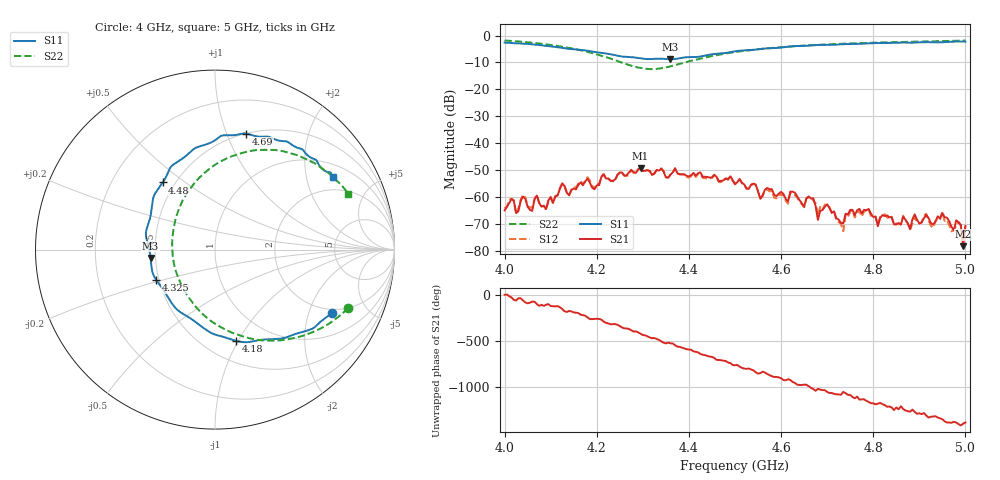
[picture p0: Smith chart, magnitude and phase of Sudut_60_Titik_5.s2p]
# Hz S RI R 50
! CMT, C1220, 16058040, 17.2.0/1
! Date: 15/08/2018 12:18:55
! Data: Format (Calibration Info)
! Freq  S11: Re/Im (F2)  S21: Re/Im (F2)  S12: Re/Im (F2)  S22: Re/Im (F2)
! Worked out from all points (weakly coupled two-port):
!   201 points, 4 GHz to 5 GHz, reference 50 ohm
!   highest |S21| = -49.18 dB at 4.295 GHz (marker M1); lowest = -78.3 dB at 4.995 GHz (marker M2)
!   lowest |S11| = -8.8 dB at 4.36 GHz (marker M3), VSWR 2.13, Z = 23.5 - j2.52 ohm
!   |S11| at or under -10 dB: nowhere
!   |S22| runs from -12.5 to -1.8 dB; largest |S21 - S12| = 0.00019
!   S11 on the Smith chart (normalised r, x): 4 GHz: 1.82, -2.86; 4.18 GHz: 0.70, -0.98; 4.325 GHz: 0.48, -0.19; 4.48 GHz: 0.43, +0.41; 4.69 GHz: 0.50, +1.18; 5 GHz: 1.42, +2.86
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4e9  0.6499 -0.354  0.000563 3.41e-05  0.000609 9.05e-05  0.741 -0.3257
4.09e9  0.428 -0.4774  -0.000144 -0.000581  -0.000112 -0.000564  0.4902 -0.4797
4.125e9  0.3139 -0.4994  -0.00157 -0.000884  -0.00149 -0.000904  0.3598 -0.5059
4.17e9  0.1474 -0.5143  -0.00132 0.000993  -0.0014 0.00101  0.1748 -0.4894
4.18e9  0.1174 -0.508  -0.00107 0.00193  -0.00121 0.00199  0.1337 -0.4762
4.295e9  -0.2535 -0.2792  0.00174 -0.00301  0.0018 -0.00299  -0.2171 -0.1233
4.325e9  -0.3272 -0.1701  -0.000728 -0.00261  -0.000723 -0.00267  -0.2381 0.00436
4.335e9  -0.3435 -0.1396  -0.00185 -0.00249  -0.00191 -0.0025  -0.2383 0.0466
4.36e9  -0.3587 -0.0465  -0.0025 -0.000705  -0.00252 -0.000665  -0.2255 0.1438
4.48e9  -0.2914 0.3745  0.00222 0.000138  0.00218 0.000148  -0.0142 0.4625
4.5e9  -0.2573 0.4383  0.00131 -0.00115  0.00132 -0.0011  0.0312 0.4913
4.67e9  0.1391 0.6436  0.000481 0.00081  0.000408 0.000767  0.3756 0.5487
4.68e9  0.158 0.6475  0.000177 0.000331  0.000197 0.000413  0.3935 0.5444
4.69e9  0.1743 0.6462  0.000383 0.00043  0.00037 0.000447  0.4096 0.54
4.735e9  0.2808 0.6304  0.000284 0.000157  0.000204 0.00011  0.4766 0.5187
4.755e9  0.3137 0.6227  0.000518 -0.000254  0.000522 -0.000222  0.5034 0.5066
4.835e9  0.4566 0.568  -0.000268 -0.000324  -0.000248 -0.000303  0.5987 0.4506
4.93e9  0.5733 0.4819  -0.000159 0.000264  -0.000153 0.000223  0.6887 0.374
4.95e9  0.6033 0.4443  -2.1e-05 0.000503  -3.56e-05 0.00053  0.7051 0.3568
4.99e9  0.6488 0.4215  0.000275 0.000127  0.000286 9.06e-05  0.7354 0.3201
4.995e9  0.6517 0.4148  8.8e-05 8.49e-05  0.000136 6.39e-05  0.7391 0.3154
5e9  0.6557 0.4071  0.000156 0.000246  0.000194 0.000213  0.743 0.311
